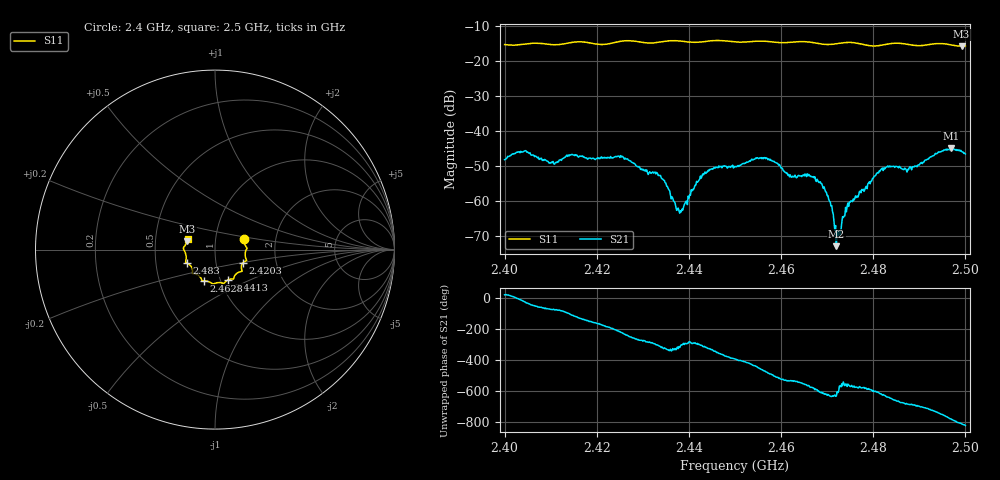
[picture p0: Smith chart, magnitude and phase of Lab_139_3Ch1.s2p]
# Hz S RI R 50
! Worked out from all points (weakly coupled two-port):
!   601 points, 2.4 GHz to 2.5 GHz, reference 50 ohm
!   highest |S21| = -45.08 dB at 2.4968 GHz (marker M1); lowest = -73.0 dB at 2.472 GHz (marker M2)
!   lowest |S11| = -15.8 dB at 2.4992 GHz (marker M3), VSWR 1.39, Z = 36.5 + j3.55 ohm
!   |S11| at or under -10 dB: start of sweep to end of sweep
!   S12 and S22 are empty: the file has one direction only
!   S11 on the Smith chart (normalised r, x): 2.4 GHz: 1.37, +0.16; 2.4203 GHz: 1.35, -0.21; 2.4413 GHz: 1.09, -0.38; 2.4628 GHz: 0.83, -0.30; 2.483 GHz: 0.72, -0.11; 2.5 GHz: 0.73, +0.09
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2.4e9  0.1607 0.0571  0.00362 0.00132  0 0  0 0
2.416667e9  0.1762 -0.0615  -0.003 -0.00307  0 0  0 0
2.420333e9  0.1552 -0.0739  -0.0039 -0.000884  0 0  0 0
2.425167e9  0.1505 -0.1158  -0.00332 0.0029  0 0  0 0
2.433333e9  0.1081 -0.1484  0.00135 0.00186  0 0  0 0
2.437833e9  0.1005 -0.1638  0.0005 0.000518  0 0  0 0
2.441333e9  0.0744 -0.1679  0.000548 0.00157  0 0  0 0
2.445e9  0.0526 -0.1863  0.00256 0.00128  0 0  0 0
2.45e9  0.0292 -0.1838  0.00252 -0.00174  0 0  0 0
2.4565e9  -0.0141 -0.1897  -0.00156 -0.00382  0 0  0 0
2.462833e9  -0.0629 -0.1748  -0.00217 -0.000194  0 0  0 0
2.466667e9  -0.0742 -0.1675  -0.00176 0.00131  0 0  0 0
2.469833e9  -0.091 -0.1447  -0.000191 0.0013  0 0  0 0
2.472e9  -0.1109 -0.1356  1.17e-05 0.000223  0 0  0 0
2.4725e9  -0.1149 -0.1348  -0.000182 0.000322  0 0  0 0
2.474833e9  -0.1251 -0.1338  -0.000845 0.000437  0 0  0 0
2.483e9  -0.1548 -0.0767  0.00049 0.00302  0 0  0 0
2.483333e9  -0.1569 -0.0757  0.000583 0.00297  0 0  0 0
2.487833e9  -0.1612 -0.0542  0.00254 0.00155  0 0  0 0
2.496833e9  -0.1675 0.0221  0.00276 -0.00484  0 0  0 0
2.499167e9  -0.1547 0.0475  -0.000252 -0.00505  0 0  0 0
2.5e9  -0.1525 0.0585  -0.00105 -0.00454  0 0  0 0
